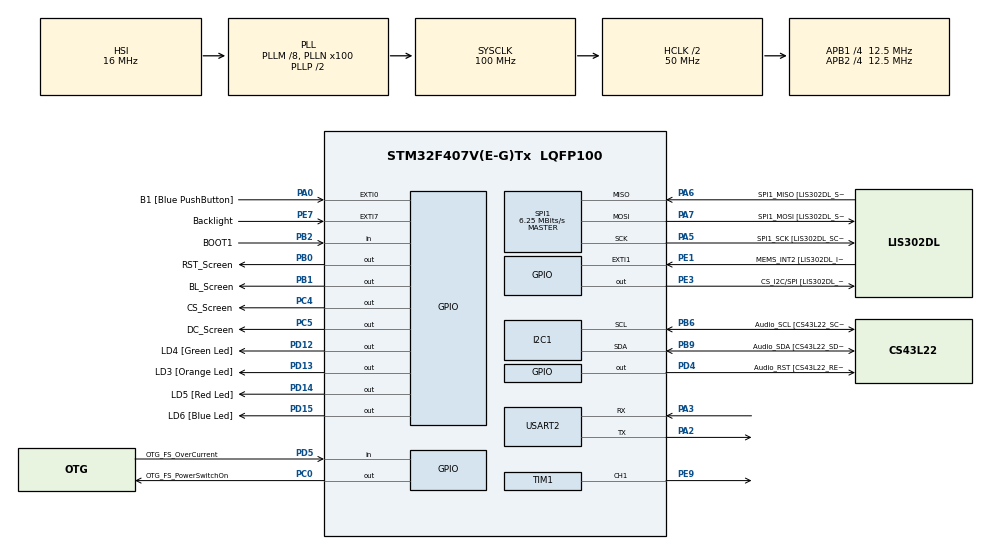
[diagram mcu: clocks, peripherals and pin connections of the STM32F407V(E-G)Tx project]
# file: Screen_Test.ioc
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Mcu.Family=STM32F4
Mcu.Name=STM32F407V(E-G)Tx
Mcu.Package=LQFP100
NVIC.EXTI9_5_IRQn=true\:0\:0\:false\:false\:true\:true\:true\:true
NVIC.PriorityGroup=NVIC_PRIORITYGROUP_0
NVIC.TIM1_BRK_TIM9_IRQn=true\:0\:0\:false\:false\:true\:true\:true\:true
NVIC.TIM3_IRQn=true\:0\:0\:false\:false\:true\:true\:true\:true
PA0-WKUP.GPIO_Label=B1 [Blue PushButton]
PA0-WKUP.Signal=GPXTI0
PA10.GPIO_Label=OTG_FS_ID
PA10.GPIO_Mode=GPIO_MODE_AF_PP
PA10.GPIO_PuPd=GPIO_NOPULL
PA10.GPIO_Speed=GPIO_SPEED_FREQ_LOW
PA10.Signal=USB_OTG_FS_ID
PA11.GPIO_Label=OTG_FS_DM
PA11.GPIO_Mode=GPIO_MODE_AF_PP
PA11.GPIO_PuPd=GPIO_NOPULL
PA11.GPIO_Speed=GPIO_SPEED_FREQ_LOW
PA11.Signal=USB_OTG_FS_DM
PA12.GPIO_Label=OTG_FS_DP
PA12.GPIO_Mode=GPIO_MODE_AF_PP
PA12.GPIO_PuPd=GPIO_NOPULL
PA12.GPIO_Speed=GPIO_SPEED_FREQ_LOW
PA12.Signal=USB_OTG_FS_DP
PA13.GPIO_Label=SWDIO
PA13.Signal=SYS_JTMS-SWDIO
PA14.GPIO_Label=SWCLK
PA14.Signal=SYS_JTCK-SWCLK
PA2.Mode=Asynchronous
PA2.Signal=USART2_TX
PA3.Mode=Asynchronous
PA3.Signal=USART2_RX
PA4.GPIO_Label=I2S3_WS [CS43L22_LRCK]
PA4.GPIO_Mode=GPIO_MODE_AF_PP
PA4.GPIO_PuPd=GPIO_NOPULL
PA4.GPIO_Speed=GPIO_SPEED_FREQ_LOW
PA4.Signal=I2S3_WS
PA5.GPIO_Label=SPI1_SCK [LIS302DL_SCL/SPC]
PA5.GPIO_Mode=GPIO_MODE_AF_PP
PA5.GPIO_PuPd=GPIO_NOPULL
PA5.GPIO_Speed=GPIO_SPEED_FREQ_LOW
PA5.Mode=Full_Duplex_Master
PA5.Signal=SPI1_SCK
PA6.GPIO_Label=SPI1_MISO [LIS302DL_SDO]
PA6.GPIO_Mode=GPIO_MODE_AF_PP
PA6.GPIO_PuPd=GPIO_NOPULL
PA6.GPIO_Speed=GPIO_SPEED_FREQ_LOW
PA6.Mode=Full_Duplex_Master
PA6.Signal=SPI1_MISO
PA7.GPIO_Label=SPI1_MOSI [LIS302DL_SDA/SDI/SDO]
PA7.GPIO_Mode=GPIO_MODE_AF_PP
PA7.GPIO_PuPd=GPIO_NOPULL
PA7.GPIO_Speed=GPIO_SPEED_FREQ_LOW
PA7.Mode=Full_Duplex_Master
PA7.Signal=SPI1_MOSI
PA9.GPIO_Label=VBUS_FS
PA9.GPIO_Mode=GPIO_MODE_INPUT
PA9.GPIO_PuPd=GPIO_NOPULL
PA9.Signal=USB_OTG_FS_VBUS
PB0.GPIO_Label=RST_Screen
PB0.Signal=GPIO_Output
PB1.GPIO_Label=BL_Screen
PB1.Signal=GPIO_Output
PB10.GPIO_Label=CLK_IN [MP45DT02_CLK]
PB10.GPIO_Mode=GPIO_MODE_AF_PP
PB10.GPIO_PuPd=GPIO_NOPULL
PB10.GPIO_Speed=GPIO_SPEED_FREQ_LOW
PB10.Signal=I2S2_CK
PB2.GPIO_Label=BOOT1
PB2.GPIO_Mode=GPIO_MODE_INPUT
PB2.GPIO_PuPd=GPIO_NOPULL
PB2.Signal=GPIO_Input
PB3.GPIO_Label=SWO
PB3.Signal=SYS_JTDO-SWO
PB6.GPIO_Label=Audio_SCL [CS43L22_SCL]
PB6.GPIO_Mode=GPIO_MODE_AF_OD
PB6.GPIO_PuPd=GPIO_NOPULL
PB6.GPIO_Speed=GPIO_SPEED_FREQ_LOW
PB6.Mode=I2C
PB6.Signal=I2C1_SCL
PB9.GPIO_Label=Audio_SDA [CS43L22_SDA]
PB9.GPIO_Mode=GPIO_MODE_AF_OD
PB9.GPIO_PuPd=GPIO_NOPULL
PB9.GPIO_Speed=GPIO_SPEED_FREQ_LOW
PB9.Mode=I2C
PB9.Signal=I2C1_SDA
PC0.GPIO_Label=OTG_FS_PowerSwitchOn
PC0.GPIO_PuPd=GPIO_NOPULL
PC0.GPIO_Speed=GPIO_SPEED_FREQ_LOW
PC0.PinState=GPIO_PIN_SET
PC0.Signal=GPIO_Output
PC10.GPIO_Label=I2S3_SCK [CS43L22_SCLK]
PC10.GPIO_Mode=GPIO_MODE_AF_PP
PC10.GPIO_PuPd=GPIO_NOPULL
PC10.GPIO_Speed=GPIO_SPEED_FREQ_LOW
PC10.Signal=I2S3_CK
PC12.GPIO_Label=I2S3_SD [CS43L22_SDIN]
PC12.GPIO_Mode=GPIO_MODE_AF_PP
PC12.GPIO_PuPd=GPIO_NOPULL
PC12.GPIO_Speed=GPIO_SPEED_FREQ_LOW
PC12.Signal=I2S3_SD
PC14-OSC32_IN.GPIO_Label=PC14-OSC32_IN
PC14-OSC32_IN.Signal=RCC_OSC32_IN
PC15-OSC32_OUT.GPIO_Label=PC15-OSC32_OUT
PC15-OSC32_OUT.Signal=RCC_OSC32_OUT
PC3.GPIO_Label=PDM_OUT [MP45DT02_DOUT]
PC3.GPIO_Mode=GPIO_MODE_AF_PP
PC3.GPIO_PuPd=GPIO_NOPULL
PC3.GPIO_Speed=GPIO_SPEED_FREQ_LOW
PC3.Signal=I2S2_SD
PC4.GPIO_Label=CS_Screen
PC4.Signal=GPIO_Output
PC5.GPIO_Label=DC_Screen
PC5.Signal=GPIO_Output
PC7.GPIO_Label=I2S3_MCK [CS43L22_MCLK]
PC7.GPIO_Mode=GPIO_MODE_AF_PP
PC7.GPIO_PuPd=GPIO_NOPULL
PC7.GPIO_Speed=GPIO_SPEED_FREQ_LOW
PC7.Signal=I2S3_MCK
PD12.GPIO_Label=LD4 [Green Led]
PD12.GPIO_PuPd=GPIO_NOPULL
PD12.GPIO_Speed=GPIO_SPEED_FREQ_LOW
PD12.Signal=GPIO_Output
PD13.GPIO_Label=LD3 [Orange Led]
PD13.GPIO_PuPd=GPIO_NOPULL
PD13.GPIO_Speed=GPIO_SPEED_FREQ_LOW
PD13.Signal=GPIO_Output
PD14.GPIO_Label=LD5 [Red Led]
PD14.GPIO_PuPd=GPIO_NOPULL
PD14.GPIO_Speed=GPIO_SPEED_FREQ_LOW
PD14.Signal=GPIO_Output
PD15.GPIO_Label=LD6 [Blue Led]
PD15.GPIO_PuPd=GPIO_NOPULL
PD15.GPIO_Speed=GPIO_SPEED_FREQ_LOW
PD15.Signal=GPIO_Output
PD4.GPIO_Label=Audio_RST [CS43L22_RESET]
PD4.GPIO_PuPd=GPIO_NOPULL
PD4.GPIO_Speed=GPIO_SPEED_FREQ_LOW
PD4.Signal=GPIO_Output
PD5.GPIO_Label=OTG_FS_OverCurrent
PD5.GPIO_Mode=GPIO_MODE_INPUT
PD5.GPIO_PuPd=GPIO_NOPULL
PD5.Signal=GPIO_Input
PE1.GPIO_Label=MEMS_INT2 [LIS302DL_INT2]
PE1.GPIO_ModeDefaultEXTI=GPIO_MODE_EVT_RISING
PE1.GPIO_PuPd=GPIO_NOPULL
PE1.Signal=GPXTI1
PE3.GPIO_Label=CS_I2C/SPI [LIS302DL_CS_I2C/SPI]
PE3.GPIO_PuPd=GPIO_NOPULL
PE3.GPIO_Speed=GPIO_SPEED_FREQ_LOW
PE3.Signal=GPIO_Output
PE7.GPIO_Label=Backlight
PE7.GPIO_ModeDefaultEXTI=GPIO_MODE_IT_FALLING
PE7.GPIO_PuPd=GPIO_NOPULL
PE7.Signal=GPXTI7
PE9.Signal=S_TIM1_CH1
PH0-OSC_IN.GPIO_Label=PH0-OSC_IN
PH0-OSC_IN.Signal=RCC_OSC_IN
PH1-OSC_OUT.GPIO_Label=PH1-OSC_OUT
PH1-OSC_OUT.Signal=RCC_OSC_OUT
ProjectManager.HeapSize=0x200
ProjectManager.StackSize=0x400
ProjectManager.TargetToolchain=STM32CubeIDE
RCC.48MHZClocksFreq_Value=28571428.57142857
RCC.AHBCLKDivider=RCC_SYSCLK_DIV2
RCC.AHBFreq_Value=50000000
RCC.APB1CLKDivider=RCC_HCLK_DIV4
RCC.APB1Freq_Value=12500000
RCC.APB1TimFreq_Value=25000000
RCC.APB2CLKDivider=RCC_HCLK_DIV4
RCC.APB2Freq_Value=12500000
RCC.APB2TimFreq_Value=25000000
RCC.CortexFreq_Value=50000000
RCC.HCLKFreq_Value=50000000
RCC.HSE_VALUE=8000000
RCC.HSI_VALUE=16000000
RCC.LSE_VALUE=32768
RCC.PLLM=8
RCC.PLLN=100
RCC.PLLQ=7
RCC.SYSCLKFreq_VALUE=100000000
RCC.SYSCLKSource=RCC_SYSCLKSOURCE_PLLCLK
RCC.VCOOutputFreq_Value=200000000
SH.S_TIM1_CH1.0=TIM1_CH1,PWM Generation1 CH1
SPI1.BaudRatePrescaler=SPI_BAUDRATEPRESCALER_2
SPI1.CalculateBaudRate=6.25 MBits/s
SPI1.Direction=SPI_DIRECTION_2LINES
SPI1.Mode=SPI_MODE_MASTER
SPI1.VirtualType=VM_MASTER
TIM1.Channel-PWM\ Generation1\ CH1=TIM_CHANNEL_1
TIM1.Period=100-1
TIM1.Prescaler=25-1
TIM3.Period=3000-1
TIM3.Prescaler=25000-1
TIM9.Period=5000-1
TIM9.Prescaler=25000-1
USART2.VirtualMode=VM_ASYNC
VP_TIM1_VS_ClockSourceINT.Mode=Internal
VP_TIM3_VS_ClockSourceINT.Mode=Internal
VP_TIM9_VS_ClockSourceINT.Mode=Internal
board=STM32F407G-DISC1

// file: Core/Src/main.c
/* USER CODE BEGIN Header */
/**
  ******************************************************************************
  * @file           : main.c
  * @brief          : Main program body
  ******************************************************************************
  * @attention
  *
  * Copyright (c) 2023 STMicroelectronics.
  * All rights reserved.
  *
  * This software is licensed under terms that can be found in the LICENSE file
  * in the root directory of this software component.
  * If no LICENSE file comes with this software, it is provided AS-IS.
  *
  ******************************************************************************
  */
/* USER CODE END Header */
#include "main.h"

/* USER CODE BEGIN Includes */
#include "GUI_Paint.h"
#include "LCD_1in28.h"
#include "fonts.h"
#include "image.h"
#include "string.h"
#include "math.h"
/* USER CODE END Includes */

I2C_HandleTypeDef hi2c1;

SPI_HandleTypeDef hspi1;

TIM_HandleTypeDef htim1;
TIM_HandleTypeDef htim3;
TIM_HandleTypeDef htim9;

UART_HandleTypeDef huart2;

/* USER CODE BEGIN PV */
static const uint8_t BARO_ADDR = 0x77 << 1; //Left shifted to use 8 bit address
static const uint8_t BARO_RESET = 0x1E; //Reset command
static const uint8_t ADC_BARO_READ_ADDR = 0x00; //Command to read Baro's ADC (24 bit read)
static const uint8_t BARO_PROM_ADDR = 0xA0; //Base PROM ADDR for Baro sensor
static const uint8_t BARO_C5 = 0x0A;
static const uint8_t BARO_C6 = 0x0C;
static const uint8_t BARO_CONVERT_TEMP = 0x58; //Command to convert baro sensor to reading temperature
uint16_t C5 = 1, C6 = 1;
volatile uint8_t Temp_FLAG = 0;
/* USER CODE END PV */

void SystemClock_Config(void);
static void MX_GPIO_Init(void);
static void MX_SPI1_Init(void);
static void MX_USART2_UART_Init(void);
static void MX_TIM1_Init(void);
static void MX_TIM3_Init(void);
static void MX_I2C1_Init(void);
static void MX_TIM9_Init(void);

int main(void)
{

  /* MCU Configuration--------------------------------------------------------*/

  /* Reset of all peripherals, Initializes the Flash interface and the Systick. */
  HAL_Init();

  /* Configure the system clock */
  SystemClock_Config();

  /* Initialize all configured peripherals */
  MX_GPIO_Init();
  MX_SPI1_Init();
  MX_USART2_UART_Init();
  MX_TIM1_Init();
  MX_TIM3_Init();
  MX_I2C1_Init();
  MX_TIM9_Init();
  /* USER CODE BEGIN 2 */

  HAL_StatusTypeDef ret;
  uint8_t buf[30];
  uint32_t temp = 0;
  int32_t dT = 0, TEMP = 0;

  TIM1->CCR1 = 20;
  HAL_TIM_PWM_Start(&htim1, TIM_CHANNEL_1);

  buf[0] = BARO_RESET;
  ret = HAL_I2C_Master_Transmit(&hi2c1, BARO_ADDR, buf, 1, HAL_MAX_DELAY);
  if (ret != HAL_OK){
	  strcpy((char*)buf, "Error TX_1\r\n");
  }
  HAL_Delay(50);

  buf[0] = BARO_PROM_ADDR | BARO_C5;
  ret = HAL_I2C_Master_Transmit(&hi2c1, BARO_ADDR, buf, 1, HAL_MAX_DELAY);
  if (ret != HAL_OK){
	  strcpy((char*)buf, "Error TX_1e\r\n");
  }else{
	  ret = HAL_I2C_Master_Receive(&hi2c1, BARO_ADDR, buf, 2, HAL_MAX_DELAY);
	  if (ret != HAL_OK){
		  strcpy((char*)buf, "Error Rx\r\n");
	  } else {
		  C5 = ((buf[0] << 8) | buf[1]);
	  }
  }
  HAL_Delay(50);

  buf[0] = BARO_PROM_ADDR | BARO_C6;
  ret = HAL_I2C_Master_Transmit(&hi2c1, BARO_ADDR, buf, 1, HAL_MAX_DELAY);
  if (ret != HAL_OK){
		strcpy((char*)buf, "Error TX_1f\r\n");
	}else{
		  ret = HAL_I2C_Master_Receive(&hi2c1, BARO_ADDR, buf, 2, HAL_MAX_DELAY);
		  if (ret != HAL_OK){
			  strcpy((char*)buf, "Error Rx\r\n");
		  } else {
			  C6 = ((buf[0] << 8) | buf[1]);
		  }
	}
	HAL_Delay(50);

  Module_Init();

//printf("LCD_1IN28_ Init and Clear...\r\n");
  LCD_1IN28_Init(VERTICAL);
  LCD_1IN28_Clear(BLACK);

//printf("Paint_NewImage\r\n");
  Paint_NewImage(LCD_1IN28_WIDTH,LCD_1IN28_HEIGHT, 0, BLACK);

//printf("Set Clear and Display Funtion\r\n");
  Paint_SetClearFuntion(LCD_1IN28_Clear);
  Paint_SetDisplayFuntion(LCD_1IN28_DrawPaint);

//printf("Paint_Clear\r\n");
  Paint_Clear(BLACK);
  HAL_Delay(100);

//printf("drawing...\r\n");

  //Paint_DrawCircle(120,120, 120, BLUE ,DOT_PIXEL_2X2,DRAW_FILL_EMPTY);
  //Paint_DrawLine  (120, 0, 120, 12,GREEN ,DOT_PIXEL_4X4,LINE_STYLE_SOLID);
  //Paint_DrawLine  (120, 228, 120, 240,GREEN ,DOT_PIXEL_4X4,LINE_STYLE_SOLID);
  //Paint_DrawLine  (0, 120, 12, 120,GREEN ,DOT_PIXEL_4X4,LINE_STYLE_SOLID);
  //Paint_DrawLine  (228, 120, 240, 120,GREEN ,DOT_PIXEL_4X4,LINE_STYLE_SOLID);

  //Paint_DrawImage(gImage_70X70, 85, 25, 70, 70);
  //Paint_DrawString_EN(123, 123, "WAVESHARE",&Font16,  BLACK, GREEN);

  //Paint_DrawLine  (120, 120, 70, 70,YELLOW ,DOT_PIXEL_3X3,LINE_STYLE_SOLID);
  //Paint_DrawLine  (120, 120, 176, 64,BLUE ,DOT_PIXEL_3X3,LINE_STYLE_SOLID);
  //Paint_DrawLine  (120, 120, 120, 210,RED ,DOT_PIXEL_2X2,LINE_STYLE_SOLID);

  HAL_TIM_Base_Start_IT(&htim9);

  /* USER CODE END 2 */

  /* Infinite loop */
  /* USER CODE BEGIN WHILE */
  while (1)
  {
	if (Temp_FLAG == 1){
		buf[0] = BARO_CONVERT_TEMP;
		HAL_I2C_Master_Transmit(&hi2c1, BARO_ADDR, buf, 1, HAL_MAX_DELAY);

		HAL_Delay(15);

		// Read temperature value

		buf[0] = ADC_BARO_READ_ADDR;
		HAL_I2C_Master_Transmit(&hi2c1, BARO_ADDR, buf, 1, HAL_MAX_DELAY);
		HAL_I2C_Master_Receive(&hi2c1, BARO_ADDR, buf, 3, HAL_MAX_DELAY);
		temp = ((0x00 << 24) | (buf[0] << 16) | (buf[1] << 8) | buf[2]);

		dT = temp - C5*pow(2,8);
		TEMP = 2000 + dT*C6/pow(2,23);

		sprintf((char*)buf, "%i.%02u C", (int)TEMP/100, (unsigned int)TEMP%100);
		Paint_DrawString_EN(123, 123+16, (char *) buf, &Font16, BLACK, GREEN);
		Temp_FLAG = 0;
	}
    /* USER CODE END WHILE */

  }
}

void SystemClock_Config(void)
{
  RCC_OscInitTypeDef RCC_OscInitStruct = {0};
  RCC_ClkInitTypeDef RCC_ClkInitStruct = {0};

  /** Configure the main internal regulator output voltage
  */
  __HAL_RCC_PWR_CLK_ENABLE();
  __HAL_PWR_VOLTAGESCALING_CONFIG(PWR_REGULATOR_VOLTAGE_SCALE1);

  /** Initializes the RCC Oscillators according to the specified parameters
  * in the RCC_OscInitTypeDef structure.
  */
  RCC_OscInitStruct.OscillatorType = RCC_OSCILLATORTYPE_HSI;
  RCC_OscInitStruct.HSIState = RCC_HSI_ON;
  RCC_OscInitStruct.HSICalibrationValue = RCC_HSICALIBRATION_DEFAULT;
  RCC_OscInitStruct.PLL.PLLState = RCC_PLL_ON;
  RCC_OscInitStruct.PLL.PLLSource = RCC_PLLSOURCE_HSI;
  RCC_OscInitStruct.PLL.PLLM = 8;
  RCC_OscInitStruct.PLL.PLLN = 100;
  RCC_OscInitStruct.PLL.PLLP = RCC_PLLP_DIV2;
  RCC_OscInitStruct.PLL.PLLQ = 7;
  if (HAL_RCC_OscConfig(&RCC_OscInitStruct) != HAL_OK)
  {
    Error_Handler();
  }

  /** Initializes the CPU, AHB and APB buses clocks
  */
  RCC_ClkInitStruct.ClockType = RCC_CLOCKTYPE_HCLK|RCC_CLOCKTYPE_SYSCLK
                              |RCC_CLOCKTYPE_PCLK1|RCC_CLOCKTYPE_PCLK2;
  RCC_ClkInitStruct.SYSCLKSource = RCC_SYSCLKSOURCE_PLLCLK;
  RCC_ClkInitStruct.AHBCLKDivider = RCC_SYSCLK_DIV2;
  RCC_ClkInitStruct.APB1CLKDivider = RCC_HCLK_DIV4;
  RCC_ClkInitStruct.APB2CLKDivider = RCC_HCLK_DIV4;

  if (HAL_RCC_ClockConfig(&RCC_ClkInitStruct, FLASH_LATENCY_1) != HAL_OK)
  {
    Error_Handler();
  }
}

static void MX_I2C1_Init(void)
{

  hi2c1.Instance = I2C1;
  hi2c1.Init.ClockSpeed = 100000;
  hi2c1.Init.DutyCycle = I2C_DUTYCYCLE_2;
  hi2c1.Init.OwnAddress1 = 0;
  hi2c1.Init.AddressingMode = I2C_ADDRESSINGMODE_7BIT;
  hi2c1.Init.DualAddressMode = I2C_DUALADDRESS_DISABLE;
  hi2c1.Init.OwnAddress2 = 0;
  hi2c1.Init.GeneralCallMode = I2C_GENERALCALL_DISABLE;
  hi2c1.Init.NoStretchMode = I2C_NOSTRETCH_DISABLE;
  if (HAL_I2C_Init(&hi2c1) != HAL_OK)
  {
    Error_Handler();
  }

}

static void MX_SPI1_Init(void)
{

  /* SPI1 parameter configuration*/
  hspi1.Instance = SPI1;
  hspi1.Init.Mode = SPI_MODE_MASTER;
  hspi1.Init.Direction = SPI_DIRECTION_2LINES;
  hspi1.Init.DataSize = SPI_DATASIZE_8BIT;
  hspi1.Init.CLKPolarity = SPI_POLARITY_LOW;
  hspi1.Init.CLKPhase = SPI_PHASE_1EDGE;
  hspi1.Init.NSS = SPI_NSS_SOFT;
  hspi1.Init.BaudRatePrescaler = SPI_BAUDRATEPRESCALER_2;
  hspi1.Init.FirstBit = SPI_FIRSTBIT_MSB;
  hspi1.Init.TIMode = SPI_TIMODE_DISABLE;
  hspi1.Init.CRCCalculation = SPI_CRCCALCULATION_DISABLE;
  hspi1.Init.CRCPolynomial = 10;
  if (HAL_SPI_Init(&hspi1) != HAL_OK)
  {
    Error_Handler();
  }

}

static void MX_TIM1_Init(void)
{

  TIM_ClockConfigTypeDef sClockSourceConfig = {0};
  TIM_MasterConfigTypeDef sMasterConfig = {0};
  TIM_OC_InitTypeDef sConfigOC = {0};
  TIM_BreakDeadTimeConfigTypeDef sBreakDeadTimeConfig = {0};

  htim1.Instance = TIM1;
  htim1.Init.Prescaler = 25-1;
  htim1.Init.CounterMode = TIM_COUNTERMODE_UP;
  htim1.Init.Period = 100-1;
  htim1.Init.ClockDivision = TIM_CLOCKDIVISION_DIV1;
  htim1.Init.RepetitionCounter = 0;
  htim1.Init.AutoReloadPreload = TIM_AUTORELOAD_PRELOAD_DISABLE;
  if (HAL_TIM_Base_Init(&htim1) != HAL_OK)
  {
    Error_Handler();
  }
  sClockSourceConfig.ClockSource = TIM_CLOCKSOURCE_INTERNAL;
  if (HAL_TIM_ConfigClockSource(&htim1, &sClockSourceConfig) != HAL_OK)
  {
    Error_Handler();
  }
  if (HAL_TIM_PWM_Init(&htim1) != HAL_OK)
  {
    Error_Handler();
  }
  sMasterConfig.MasterOutputTrigger = TIM_TRGO_RESET;
  sMasterConfig.MasterSlaveMode = TIM_MASTERSLAVEMODE_DISABLE;
  if (HAL_TIMEx_MasterConfigSynchronization(&htim1, &sMasterConfig) != HAL_OK)
  {
    Error_Handler();
  }
  sConfigOC.OCMode = TIM_OCMODE_PWM1;
  sConfigOC.Pulse = 0;
  sConfigOC.OCPolarity = TIM_OCPOLARITY_HIGH;
  sConfigOC.OCNPolarity = TIM_OCNPOLARITY_HIGH;
  sConfigOC.OCFastMode = TIM_OCFAST_DISABLE;
  sConfigOC.OCIdleState = TIM_OCIDLESTATE_RESET;
  sConfigOC.OCNIdleState = TIM_OCNIDLESTATE_RESET;
  if (HAL_TIM_PWM_ConfigChannel(&htim1, &sConfigOC, TIM_CHANNEL_1) != HAL_OK)
  {
    Error_Handler();
  }
  sBreakDeadTimeConfig.OffStateRunMode = TIM_OSSR_DISABLE;
  sBreakDeadTimeConfig.OffStateIDLEMode = TIM_OSSI_DISABLE;
  sBreakDeadTimeConfig.LockLevel = TIM_LOCKLEVEL_OFF;
  sBreakDeadTimeConfig.DeadTime = 0;
  sBreakDeadTimeConfig.BreakState = TIM_BREAK_DISABLE;
  sBreakDeadTimeConfig.BreakPolarity = TIM_BREAKPOLARITY_HIGH;
  sBreakDeadTimeConfig.AutomaticOutput = TIM_AUTOMATICOUTPUT_DISABLE;
  if (HAL_TIMEx_ConfigBreakDeadTime(&htim1, &sBreakDeadTimeConfig) != HAL_OK)
  {
    Error_Handler();
  }
  HAL_TIM_MspPostInit(&htim1);

}

static void MX_TIM3_Init(void)
{

  TIM_ClockConfigTypeDef sClockSourceConfig = {0};
  TIM_MasterConfigTypeDef sMasterConfig = {0};

  htim3.Instance = TIM3;
  htim3.Init.Prescaler = 25000-1;
  htim3.Init.CounterMode = TIM_COUNTERMODE_UP;
  htim3.Init.Period = 3000-1;
  htim3.Init.ClockDivision = TIM_CLOCKDIVISION_DIV1;
  htim3.Init.AutoReloadPreload = TIM_AUTORELOAD_PRELOAD_DISABLE;
  if (HAL_TIM_Base_Init(&htim3) != HAL_OK)
  {
    Error_Handler();
  }
  sClockSourceConfig.ClockSource = TIM_CLOCKSOURCE_INTERNAL;
  if (HAL_TIM_ConfigClockSource(&htim3, &sClockSourceConfig) != HAL_OK)
  {
    Error_Handler();
  }
  sMasterConfig.MasterOutputTrigger = TIM_TRGO_RESET;
  sMasterConfig.MasterSlaveMode = TIM_MASTERSLAVEMODE_DISABLE;
  if (HAL_TIMEx_MasterConfigSynchronization(&htim3, &sMasterConfig) != HAL_OK)
  {
    Error_Handler();
  }

}

static void MX_TIM9_Init(void)
{

  TIM_ClockConfigTypeDef sClockSourceConfig = {0};

  htim9.Instance = TIM9;
  htim9.Init.Prescaler = 25000-1;
  htim9.Init.CounterMode = TIM_COUNTERMODE_UP;
  htim9.Init.Period = 5000-1;
  htim9.Init.ClockDivision = TIM_CLOCKDIVISION_DIV1;
  htim9.Init.AutoReloadPreload = TIM_AUTORELOAD_PRELOAD_DISABLE;
  if (HAL_TIM_Base_Init(&htim9) != HAL_OK)
  {
    Error_Handler();
  }
  sClockSourceConfig.ClockSource = TIM_CLOCKSOURCE_INTERNAL;
  if (HAL_TIM_ConfigClockSource(&htim9, &sClockSourceConfig) != HAL_OK)
  {
    Error_Handler();
  }

}

static void MX_USART2_UART_Init(void)
{

  huart2.Instance = USART2;
  huart2.Init.BaudRate = 115200;
  huart2.Init.WordLength = UART_WORDLENGTH_8B;
  huart2.Init.StopBits = UART_STOPBITS_1;
  huart2.Init.Parity = UART_PARITY_NONE;
  huart2.Init.Mode = UART_MODE_TX_RX;
  huart2.Init.HwFlowCtl = UART_HWCONTROL_NONE;
  huart2.Init.OverSampling = UART_OVERSAMPLING_16;
  if (HAL_UART_Init(&huart2) != HAL_OK)
  {
    Error_Handler();
  }

}

static void MX_GPIO_Init(void)
{
  GPIO_InitTypeDef GPIO_InitStruct = {0};

  /* GPIO Ports Clock Enable */
  __HAL_RCC_GPIOE_CLK_ENABLE();
  __HAL_RCC_GPIOC_CLK_ENABLE();
  __HAL_RCC_GPIOH_CLK_ENABLE();
  __HAL_RCC_GPIOA_CLK_ENABLE();
  __HAL_RCC_GPIOB_CLK_ENABLE();
  __HAL_RCC_GPIOD_CLK_ENABLE();

  /*Configure GPIO pin Output Level */
  HAL_GPIO_WritePin(CS_I2C_SPI_GPIO_Port, CS_I2C_SPI_Pin, GPIO_PIN_RESET);

  /*Configure GPIO pin Output Level */
  HAL_GPIO_WritePin(OTG_FS_PowerSwitchOn_GPIO_Port, OTG_FS_PowerSwitchOn_Pin, GPIO_PIN_SET);

  /*Configure GPIO pin Output Level */
  HAL_GPIO_WritePin(GPIOC, CS_Screen_Pin|DC_Screen_Pin, GPIO_PIN_RESET);

  /*Configure GPIO pin Output Level */
  HAL_GPIO_WritePin(GPIOB, RST_Screen_Pin|BL_Screen_Pin, GPIO_PIN_RESET);

  /*Configure GPIO pin Output Level */
  HAL_GPIO_WritePin(GPIOD, LD4_Pin|LD3_Pin|LD5_Pin|LD6_Pin
                          |Audio_RST_Pin, GPIO_PIN_RESET);

  /*Configure GPIO pin : CS_I2C_SPI_Pin */
  GPIO_InitStruct.Pin = CS_I2C_SPI_Pin;
  GPIO_InitStruct.Mode = GPIO_MODE_OUTPUT_PP;
  GPIO_InitStruct.Pull = GPIO_NOPULL;
  GPIO_InitStruct.Speed = GPIO_SPEED_FREQ_LOW;
  HAL_GPIO_Init(CS_I2C_SPI_GPIO_Port, &GPIO_InitStruct);

  /*Configure GPIO pins : OTG_FS_PowerSwitchOn_Pin CS_Screen_Pin DC_Screen_Pin */
  GPIO_InitStruct.Pin = OTG_FS_PowerSwitchOn_Pin|CS_Screen_Pin|DC_Screen_Pin;
  GPIO_InitStruct.Mode = GPIO_MODE_OUTPUT_PP;
  GPIO_InitStruct.Pull = GPIO_NOPULL;
  GPIO_InitStruct.Speed = GPIO_SPEED_FREQ_LOW;
  HAL_GPIO_Init(GPIOC, &GPIO_InitStruct);

  /*Configure GPIO pin : PDM_OUT_Pin */
  GPIO_InitStruct.Pin = PDM_OUT_Pin;
  GPIO_InitStruct.Mode = GPIO_MODE_AF_PP;
  GPIO_InitStruct.Pull = GPIO_NOPULL;
  GPIO_InitStruct.Speed = GPIO_SPEED_FREQ_LOW;
  GPIO_InitStruct.Alternate = GPIO_AF5_SPI2;
  HAL_GPIO_Init(PDM_OUT_GPIO_Port, &GPIO_InitStruct);

  /*Configure GPIO pin : B1_Pin */
  GPIO_InitStruct.Pin = B1_Pin;
  GPIO_InitStruct.Mode = GPIO_MODE_IT_RISING;
  GPIO_InitStruct.Pull = GPIO_NOPULL;
  HAL_GPIO_Init(B1_GPIO_Port, &GPIO_InitStruct);

  /*Configure GPIO pin : I2S3_WS_Pin */
  GPIO_InitStruct.Pin = I2S3_WS_Pin;
  GPIO_InitStruct.Mode = GPIO_MODE_AF_PP;
  GPIO_InitStruct.Pull = GPIO_NOPULL;
  GPIO_InitStruct.Speed = GPIO_SPEED_FREQ_LOW;
  GPIO_InitStruct.Alternate = GPIO_AF6_SPI3;
  HAL_GPIO_Init(I2S3_WS_GPIO_Port, &GPIO_InitStruct);

  /*Configure GPIO pins : RST_Screen_Pin BL_Screen_Pin */
  GPIO_InitStruct.Pin = RST_Screen_Pin|BL_Screen_Pin;
  GPIO_InitStruct.Mode = GPIO_MODE_OUTPUT_PP;
  GPIO_InitStruct.Pull = GPIO_NOPULL;
  GPIO_InitStruct.Speed = GPIO_SPEED_FREQ_LOW;
  HAL_GPIO_Init(GPIOB, &GPIO_InitStruct);

  /*Configure GPIO pin : BOOT1_Pin */
  GPIO_InitStruct.Pin = BOOT1_Pin;
  GPIO_InitStruct.Mode = GPIO_MODE_INPUT;
  GPIO_InitStruct.Pull = GPIO_NOPULL;
  HAL_GPIO_Init(BOOT1_GPIO_Port, &GPIO_InitStruct);

  /*Configure GPIO pin : Backlight_Pin */
  GPIO_InitStruct.Pin = Backlight_Pin;
  GPIO_InitStruct.Mode = GPIO_MODE_IT_FALLING;
  GPIO_InitStruct.Pull = GPIO_NOPULL;
  HAL_GPIO_Init(Backlight_GPIO_Port, &GPIO_InitStruct);

  /*Configure GPIO pin : CLK_IN_Pin */
  GPIO_InitStruct.Pin = CLK_IN_Pin;
  GPIO_InitStruct.Mode = GPIO_MODE_AF_PP;
  GPIO_InitStruct.Pull = GPIO_NOPULL;
  GPIO_InitStruct.Speed = GPIO_SPEED_FREQ_LOW;
  GPIO_InitStruct.Alternate = GPIO_AF5_SPI2;
  HAL_GPIO_Init(CLK_IN_GPIO_Port, &GPIO_InitStruct);

  /*Configure GPIO pins : LD4_Pin LD3_Pin LD5_Pin LD6_Pin
                           Audio_RST_Pin */
  GPIO_InitStruct.Pin = LD4_Pin|LD3_Pin|LD5_Pin|LD6_Pin
                          |Audio_RST_Pin;
  GPIO_InitStruct.Mode = GPIO_MODE_OUTPUT_PP;
  GPIO_InitStruct.Pull = GPIO_NOPULL;
  GPIO_InitStruct.Speed = GPIO_SPEED_FREQ_LOW;
  HAL_GPIO_Init(GPIOD, &GPIO_InitStruct);

  /*Configure GPIO pins : I2S3_MCK_Pin I2S3_SCK_Pin I2S3_SD_Pin */
  GPIO_InitStruct.Pin = I2S3_MCK_Pin|I2S3_SCK_Pin|I2S3_SD_Pin;
  GPIO_InitStruct.Mode = GPIO_MODE_AF_PP;
  GPIO_InitStruct.Pull = GPIO_NOPULL;
  GPIO_InitStruct.Speed = GPIO_SPEED_FREQ_LOW;
  GPIO_InitStruct.Alternate = GPIO_AF6_SPI3;
  HAL_GPIO_Init(GPIOC, &GPIO_InitStruct);

  /*Configure GPIO pin : VBUS_FS_Pin */
  GPIO_InitStruct.Pin = VBUS_FS_Pin;
  GPIO_InitStruct.Mode = GPIO_MODE_INPUT;
  GPIO_InitStruct.Pull = GPIO_NOPULL;
  HAL_GPIO_Init(VBUS_FS_GPIO_Port, &GPIO_InitStruct);

  /*Configure GPIO pins : OTG_FS_ID_Pin OTG_FS_DM_Pin OTG_FS_DP_Pin */
  GPIO_InitStruct.Pin = OTG_FS_ID_Pin|OTG_FS_DM_Pin|OTG_FS_DP_Pin;
  GPIO_InitStruct.Mode = GPIO_MODE_AF_PP;
  GPIO_InitStruct.Pull = GPIO_NOPULL;
  GPIO_InitStruct.Speed = GPIO_SPEED_FREQ_LOW;
  GPIO_InitStruct.Alternate = GPIO_AF10_OTG_FS;
  HAL_GPIO_Init(GPIOA, &GPIO_InitStruct);

  /*Configure GPIO pin : OTG_FS_OverCurrent_Pin */
  GPIO_InitStruct.Pin = OTG_FS_OverCurrent_Pin;
  GPIO_InitStruct.Mode = GPIO_MODE_INPUT;
  GPIO_InitStruct.Pull = GPIO_NOPULL;
  HAL_GPIO_Init(OTG_FS_OverCurrent_GPIO_Port, &GPIO_InitStruct);

  /*Configure GPIO pin : MEMS_INT2_Pin */
  GPIO_InitStruct.Pin = MEMS_INT2_Pin;
  GPIO_InitStruct.Mode = GPIO_MODE_EVT_RISING;
  GPIO_InitStruct.Pull = GPIO_NOPULL;
  HAL_GPIO_Init(MEMS_INT2_GPIO_Port, &GPIO_InitStruct);

  /* EXTI interrupt init*/
  HAL_NVIC_SetPriority(EXTI9_5_IRQn, 0, 0);
  HAL_NVIC_EnableIRQ(EXTI9_5_IRQn);

}

/* USER CODE BEGIN 4 */
void HAL_GPIO_EXTI_Callback(uint16_t GPIO_Pin){

	if(GPIO_Pin == Backlight_Pin){
		TIM1->CCR1 = 100;
		HAL_TIM_Base_Start_IT(&htim3);
		__HAL_TIM_SET_COUNTER(&htim3, 0);
	}
}

void HAL_TIM_PeriodElapsedCallback(TIM_HandleTypeDef *htim){

	if (htim == &htim3){
		TIM1->CCR1 = 20;
		HAL_TIM_Base_Stop_IT(&htim3);
	}

	else if (htim == &htim9){
		Temp_FLAG = 1;
	}

}

/* USER CODE END 4 */

void Error_Handler(void)
{
  __disable_irq();
  while (1)
  {
  }
}
